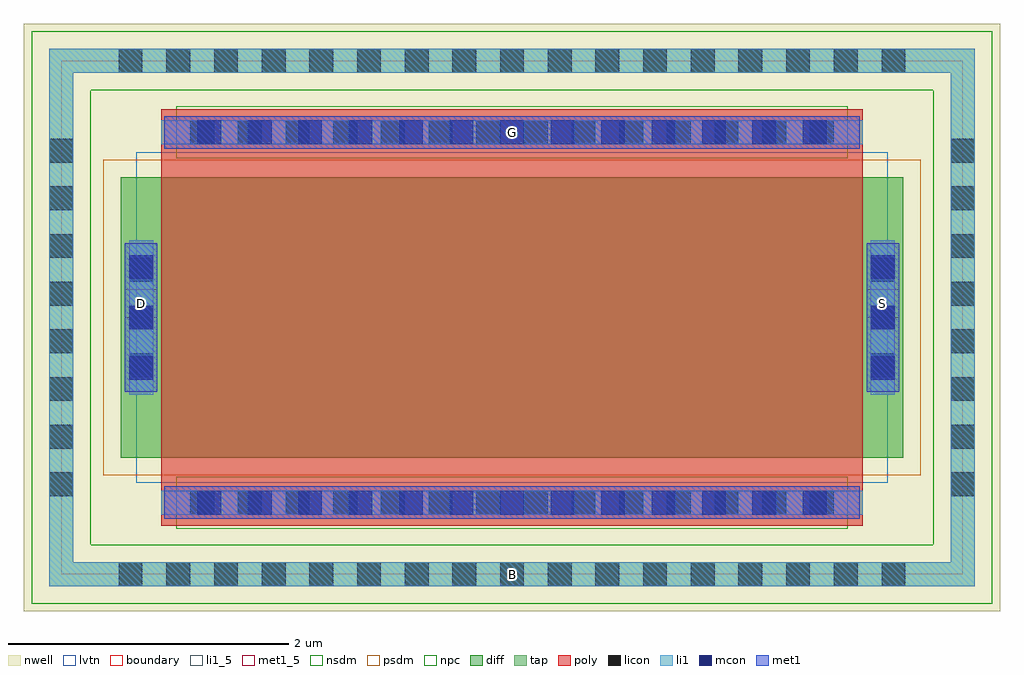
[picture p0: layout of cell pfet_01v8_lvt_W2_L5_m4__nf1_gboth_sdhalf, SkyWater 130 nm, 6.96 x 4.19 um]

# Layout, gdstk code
import gdstk
lib = gdstk.Library(unit=1e-6, precision=1e-09)
def R(c, l, rs):  # rectangles x0, y0, x1, y1
    for r in rs: c.add(gdstk.rectangle(r[:2], r[2:], *l))
def A(c, l, x, y, w, h, nx, ny, dx, dy):  # array of equal rectangles
    R(c, l, [(x+i*dx, y+j*dy, x+i*dx+w, y+j*dy+h) for i in range(nx) for j in range(ny)])
nwell = (64, 20)
diff = (65, 20)
tap = (65, 44)
poly = (66, 20)
licon = (66, 44)
li1_5 = (67, 5)
li1 = (67, 20)
mcon = (67, 44)
met1_5 = (68, 5)
met1 = (68, 20)
nsdm = (93, 44)
psdm = (94, 20)
npc = (95, 20)
lvtn = (125, 44)
boundary = (235, 4)

sky130_fd_pr__pfet_01v8_ = lib.new_cell('sky130_fd_pr__pfet_01v8_lvt_6NAJED')
R(sky130_fd_pr__pfet_01v8_, nwell, [(-3.48,-2.095,3.48,2.095)])
R(sky130_fd_pr__pfet_01v8_, diff, [(-2.79,-1,2.79,1)])
R(sky130_fd_pr__pfet_01v8_, tap, [(-3.3,-1.915,3.3,-1.745), (-3.3,-1.745,-3.13,1.745), (3.13,-1.745,3.3,1.745), (-3.3,1.745,3.3,1.915)])
R(sky130_fd_pr__pfet_01v8_, poly, [(-2.5,-1.485,2.5,1.485)])
A(sky130_fd_pr__pfet_01v8_, licon, -2.805, -1.915, 0.17, 0.17, 17, 2, 0.34, 3.66)
A(sky130_fd_pr__pfet_01v8_, licon, -2.295, -1.405, 0.17, 0.17, 14, 2, 0.34, 2.64)
A(sky130_fd_pr__pfet_01v8_, licon, -3.3, -1.275, 0.17, 0.17, 1, 8, 0, 0.34)
A(sky130_fd_pr__pfet_01v8_, licon, 3.13, -1.275, 0.17, 0.17, 1, 8, 0, 0.34)
A(sky130_fd_pr__pfet_01v8_, licon, -2.73, -0.425, 0.17, 0.17, 1, 3, 0, 0.34)
A(sky130_fd_pr__pfet_01v8_, licon, 2.56, -0.425, 0.17, 0.17, 1, 3, 0, 0.34)
R(sky130_fd_pr__pfet_01v8_, li1, [(-3.3,-1.915,3.3,-1.745), (-3.3,-1.745,-3.13,1.745), (3.13,-1.745,3.3,1.745), (-2.5,-1.405,2.5,-1.235), (-2.73,-0.55,-2.56,0.55), (2.56,-0.55,2.73,0.55), (-2.5,1.235,2.5,1.405), (-3.3,1.745,3.3,1.915)])
A(sky130_fd_pr__pfet_01v8_, mcon, -2.245, -1.405, 0.17, 0.17, 13, 2, 0.36, 2.64)
A(sky130_fd_pr__pfet_01v8_, mcon, -2.73, -0.445, 0.17, 0.17, 1, 3, 0, 0.36)
A(sky130_fd_pr__pfet_01v8_, mcon, 2.56, -0.445, 0.17, 0.17, 1, 3, 0, 0.36)
R(sky130_fd_pr__pfet_01v8_, met1, [(-2.48,-1.435,2.48,-1.205), (-2.76,-0.53,-2.53,0.53), (2.53,-0.53,2.76,0.53), (-2.48,1.205,2.48,1.435)])
R(sky130_fd_pr__pfet_01v8_, nsdm, [(-3.425,-2.04,3.425,-1.62), (-3.425,-1.62,-3.005,1.62), (3.005,-1.62,3.425,1.62), (-3.425,1.62,3.425,2.04)])
R(sky130_fd_pr__pfet_01v8_, psdm, [(-2.915,-1.125,2.915,1.125)])
R(sky130_fd_pr__pfet_01v8_, npc, [(-2.395,-1.505,2.395,-1.135), (-2.395,1.135,2.395,1.505)])
R(sky130_fd_pr__pfet_01v8_, lvtn, [(-2.68,-1.18,2.68,1.18)])
R(sky130_fd_pr__pfet_01v8_, boundary, [(-3.215,-1.83,3.215,1.83)])
sky130_fd_pr__pfet_01v8_.add(gdstk.Label('B', (0,-1.83), layer=67, texttype=5))
sky130_fd_pr__pfet_01v8_.add(gdstk.Label('D', (-2.645,0), layer=67, texttype=5))
sky130_fd_pr__pfet_01v8_.add(gdstk.Label('S', (2.645,0), layer=67, texttype=5))
sky130_fd_pr__pfet_01v8_.add(gdstk.Label('G', (0,1.32), layer=67, texttype=5))

pfet_01v8_lvt_w2_l5_m4__ = lib.new_cell('pfet_01v8_lvt_W2_L5_m4__nf1_gboth_sdhalf')
R(pfet_01v8_lvt_w2_l5_m4__, li1_5, [(3.13,-0.085,3.3,0.085)])
R(pfet_01v8_lvt_w2_l5_m4__, li1, [(3.13,-0.085,3.3,0.085)])
R(pfet_01v8_lvt_w2_l5_m4__, met1_5, [(0.455,1.83,0.685,2.03), (5.745,1.83,5.975,2.03), (0.735,3.035,5.695,3.265)])
R(pfet_01v8_lvt_w2_l5_m4__, met1, [(0.455,1.83,0.685,2.03), (5.745,1.83,5.975,2.03), (0.735,3.035,5.695,3.265)])
pfet_01v8_lvt_w2_l5_m4__.add(gdstk.Reference(sky130_fd_pr__pfet_01v8_, (3.215,1.83)))
pfet_01v8_lvt_w2_l5_m4__.add(gdstk.Label('D', (0.57,1.93), layer=68, texttype=5))
pfet_01v8_lvt_w2_l5_m4__.add(gdstk.Label('S', (5.86,1.93), layer=68, texttype=5))
pfet_01v8_lvt_w2_l5_m4__.add(gdstk.Label('G', (3.215,3.15), layer=68, texttype=5))
pfet_01v8_lvt_w2_l5_m4__.add(gdstk.Label('B', (3.215,0), layer=67, texttype=5))

lib.write_gds('pfet_01v8_lvt_W2_L5_m4__nf1_gboth_sdhalf.gds')
